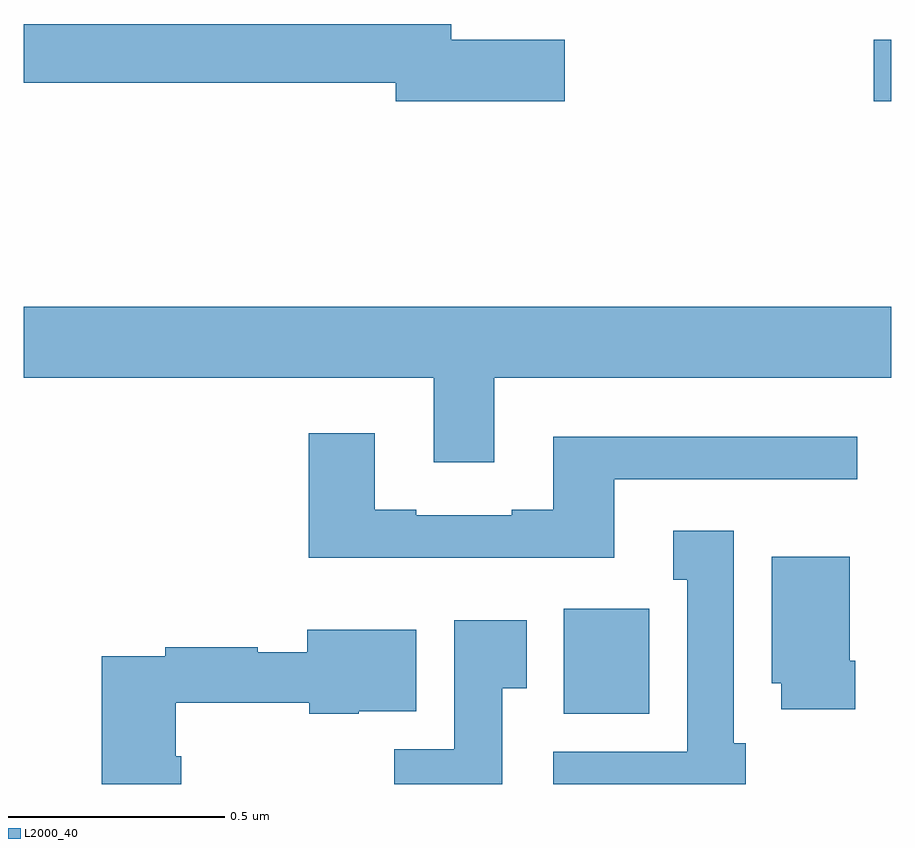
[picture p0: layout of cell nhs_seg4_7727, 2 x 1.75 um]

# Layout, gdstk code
import gdstk
lib = gdstk.Library(unit=1e-6, precision=1e-09)
def R(c, l, rs):  # rectangles x0, y0, x1, y1
    for r in rs: c.add(gdstk.rectangle(r[:2], r[2:], *l))
def P(c, l, *ps):  # polygons
    for p in ps: c.add(gdstk.Polygon(p, *l))
L2000_40 = (2000, 40)

nhs_seg4_7727 = lib.new_cell('nhs_seg4_7727')
R(nhs_seg4_7727, L2000_40, [(207.245,780.062,207.442,780.304), (207.96,781.474,208,781.616)])
P(nhs_seg4_7727, L2000_40, [(207.247,781.616),(206.986,781.616),(206.986,781.652),(206,781.652),(206,781.516),(206.858,781.516),(206.858,781.474),(207.247,781.474)],
  [(207.085,780.836),(208,780.836),(208,781),(206,781),(206,780.836),(206.945,780.836),(206.945,780.642),(207.085,780.642)],
  [(207.361,780.603),(207.922,780.603),(207.922,780.7),(207.221,780.7),(207.221,780.532),(207.125,780.532),(207.125,780.519),(206.905,780.519),(206.905,780.532),(206.809,780.532),(206.809,780.709),(206.657,780.709),(206.657,780.422),(207.361,780.422)],
  [(207.664,779.994),(207.637,779.994),(207.637,780.484),(207.497,780.484),(207.497,780.371),(207.53,780.371),(207.53,779.974),(207.221,779.974),(207.221,779.9),(207.664,779.9)],
  [(207.917,780.184),(207.904,780.184),(207.904,780.424),(207.725,780.424),(207.725,780.132),(207.746,780.132),(207.746,780.072),(207.917,780.072)],
  [(207.103,780.121),(207.16,780.121),(207.16,780.277),(206.993,780.277),(206.993,779.98),(206.854,779.98),(206.854,779.9),(207.103,779.9)],
  [(206.363,779.964),(206.35,779.964),(206.35,780.087),(206.658,780.087),(206.658,780.062),(206.772,780.062),(206.772,780.068),(206.905,780.068),(206.905,780.256),(206.654,780.256),(206.654,780.204),(206.54,780.204),(206.54,780.215),(206.326,780.215),(206.326,780.195),(206.18,780.195),(206.18,779.9),(206.363,779.9)])

lib.write_gds('nhs_seg4_7727.gds')
